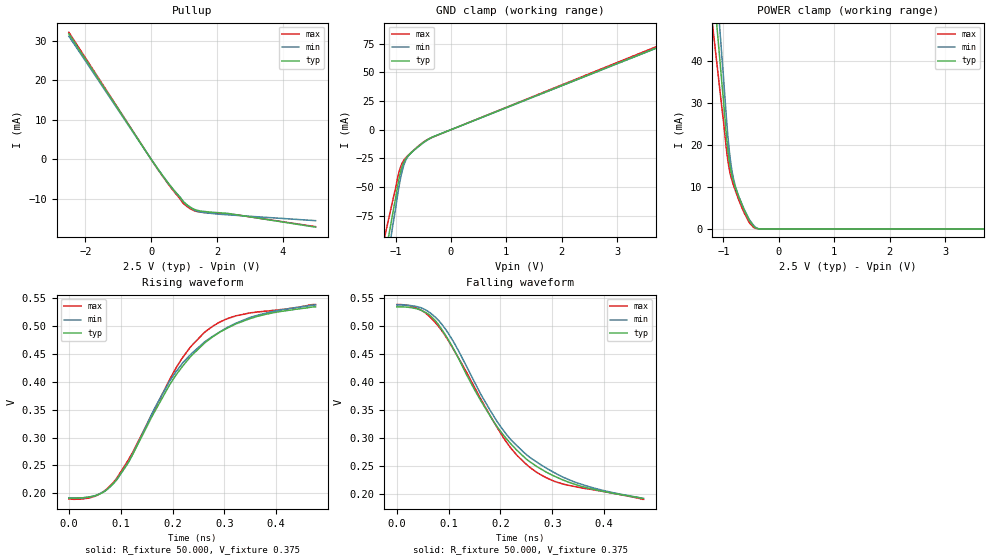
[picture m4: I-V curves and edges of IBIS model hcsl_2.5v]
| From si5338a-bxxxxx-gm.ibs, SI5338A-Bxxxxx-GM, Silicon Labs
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[Model]   hcsl_2.5v
Model_type 3-state
Vref=3.750E-01
Rref=5.000E+01
Cref=2.000E-12
Vmeas=3.750E-01
C_comp   1.110E-12   1.100E-12   1.120E-12
[Voltage Range]   2.500E+00   2.250E+00   2.750E+00
[POWER Clamp Reference]   2.500E+00   2.250E+00   2.750E+00
[GND Clamp Reference]   0.000E+00   0.000E+00   0.000E+00
[Pullup Reference]   2.500E+00   2.250E+00   2.750E+00
[Pulldown Reference]   0.000E+00   0.000E+00   0.000E+00
[Temperature Range]   25   85   -40
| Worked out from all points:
|   slope of the pullup table from 0 to 0.375 V, typ, clamps not added: 85.2 ohm
|   POWER clamp passes 1 mA (typ) near -0.48 V on its own axis
|   rising waveform, R_fixture 50.000, V_fixture 0.375: 20-80 % time 140ps typ, 141ps min, 127ps max; typ from 0.191 V to 0.535 V
|   falling waveform, R_fixture 50.000, V_fixture 0.375: 20-80 % time 147ps typ, 152ps min, 139ps max; typ from 0.535 V to 0.191 V
[GND Clamp]
-2.5V     -459.6mA   -521.4mA   -376.9mA
-1.02V    -65.05mA   -74.71mA   -55.1mA
-1V       -60.19mA   -69.05mA   -51.31mA
-960mV    -48.55mA   -56.19mA   -41.47mA
-920mV    -38.92mA   -44.95mA   -33.96mA
-880mV    -31.91mA   -36.02mA   -29.03mA
-820mV    -25.6mA    -27.17mA   -24.72mA
-780mV    -23.06mA   -23.68mA   -22.68mA
-700mV    -19.23mA   -19.31mA   -19.02mA
-500mV    -11.25mA   -11.47mA   -10.92mA
-340mV    -6.574mA   -6.62mA    -6.664mA
5V        95.97mA    95.84mA    97.56mA
[Power Clamp]
-2.5V     256.3mA    300.7mA    201.5mA
-1.02V    33.53mA    39.66mA    27.89mA
-960mV    24.21mA    28.91mA    20.66mA
-920mV    18.78mA    22.1mA     16.24mA
-880mV    14.94mA    16.97mA    13.26mA
-840mV    12.33mA    13.38mA    11.29mA
-780mV    9.736mA    9.941mA    8.961mA
-720mV    7.572mA    7.594mA    6.787mA
-540mV    2.249mA    2.438mA    1.672mA
-440mV    455.6uA    642.2uA    261.8uA
-360mV    0A         0A         0A
5V        0A         0A         0A
[Pullup]
-2.5V     31.68mA    31.1mA     32.07mA
40mV      -484.2uA   -495.6uA   -511.5uA
580mV     -6.634mA   -6.705mA   -6.928mA
960mV     -10.51mA   -10.53mA   -10.97mA
1.06V     -11.31mA   -11.42mA   -11.75mA
1.2V      -12.15mA   -12.28mA   -12.58mA
1.36V     -12.82mA   -13mA      -13.13mA
1.72V     -13.3mA    -13.59mA   -13.57mA
2.6V      -14.04mA   -14.2mA    -14.06mA
5V        -17.17mA   -15.53mA   -17.05mA
[Pulldown]
-2.5V     0A         0A         0A
0V        0A         0A         0A
5V        0A         0A         0A
[Rising Waveform]
R_fixture = 50.000
V_fixture = 0.375
V_fixture_min = 0.375
V_fixture_max = 0.375
|  time   V(typ)   V(min)   V(max)
0s        191.4mV    191.5mV    189.8mV
51ps      195.8mV    195.9mV    194.9mV
86ps      217.6mV    217.6mV    219.6mV
114ps     254mV      254.5mV    258.7mV
194ps     394.2mV    400.8mV    403.4mV
234ps     444.6mV    448.4mV    462mV
264ps     471.5mV    473.3mV    490.8mV
304ps     495.8mV    496.8mV    512.9mV
350ps     513.9mV    516mV      524mV
476ps     534.9mV    538.2mV    539.1mV
[Falling Waveform]
R_fixture = 50.000
V_fixture = 0.375
V_fixture_min = 0.375
V_fixture_max = 0.375
|  time   V(typ)   V(min)   V(max)
0s        534.9mV    538.2mV    539.1mV
48ps      528.2mV    532.7mV    528.4mV
82ps      501mV      509.1mV    498.2mV
112ps     455.3mV    468.1mV    454.4mV
187ps     329.1mV    339mV      328.9mV
220ps     289.4mV    296.9mV    281.7mV
259ps     255.7mV    263.5mV    245.5mV
302ps     232.3mV    238.6mV    222.9mV
347ps     215.7mV    219.5mV    212.1mV
476ps     191.4mV    191.5mV    189.8mV
[Ramp]
dV/dt_f   1.5969E-01/1.4738E-10   1.4539E-01/1.5170E-10   1.7983E-01/1.3895E-10
dV/dt_r   2.0769E-01/1.3980E-10   2.1639E-01/1.4040E-10   2.1383E-01/1.2360E-10
R_load = 50
